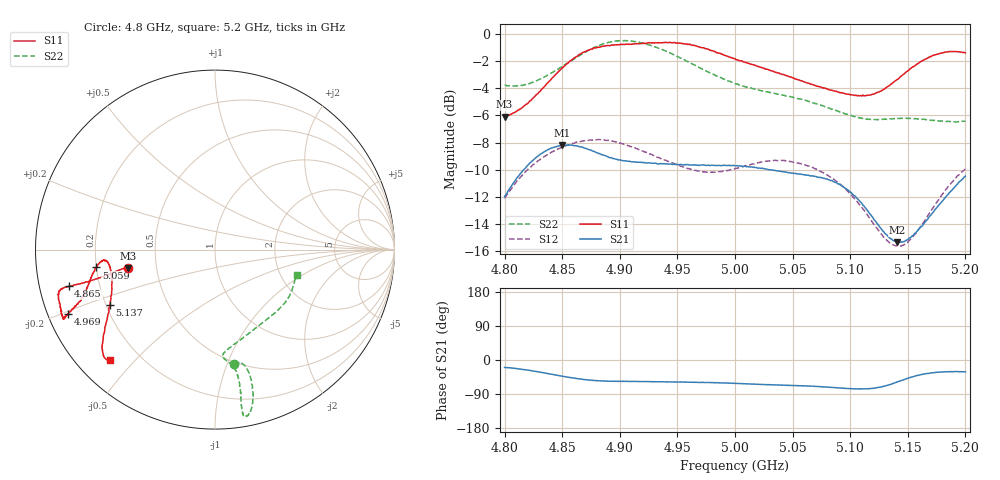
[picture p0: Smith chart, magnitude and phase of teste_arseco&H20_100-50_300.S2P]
! Network Analyzer HP8722D
! Hewlett-Packard
! Data name: Linha & Wilkinson
! Saver's name: Rodrigo Anjos
! Comments: Teste da utilização de aquisição
! continua pelo VNA HP8722D
! Time and date: 6/5/2025 15:04
!  Frequency  S11  S21  S12  S22
# HZ  S  MA R 50
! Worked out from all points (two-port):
!   401 points, 4.8 GHz to 5.2 GHz, reference 50 ohm
!   highest |S21| = -8.17 dB at 4.85 GHz (marker M1); lowest = -15.3 dB at 5.141 GHz (marker M2)
!   |S21| within 3 dB of the highest: 4.806 GHz to 5.093 GHz (286.5 MHz wide, 5.79 % of centre); 5.191829 GHz to end of sweep
!   lowest |S11| = -6.1 dB at 4.8 GHz (marker M3), VSWR 2.97, Z = 17 - j4.58 ohm
!   |S11| at or under -10 dB: nowhere
!   |S22| runs from -6.5 to -0.5 dB; largest |S21 - S12| = 0.62
!   S11 on the Smith chart (normalised r, x): 4.8 GHz: 0.34, -0.09; 4.865 GHz: 0.09, -0.12; 4.969 GHz: 0.06, -0.21; 5.059 GHz: 0.20, -0.07; 5.137 GHz: 0.22, -0.23; 5.2 GHz: 0.10, -0.43
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4.8e9  0.4962 -168.2  0.2521 -19.7  0.2486 -140.9  0.6472 -80.4
4.823e9  0.57 -167.5  0.338 -28.0  0.3245 -143.6  0.6606 -76.0
4.85e9  0.7488 -165.8  0.3904 -42.7  0.3833 -149.1  0.7594 -74.5
4.865e9  0.8404 -166.0  0.3845 -50.0  0.4014 -151.7  0.8322 -75.1
4.867e9  0.8495 -165.8  0.3842 -50.8  0.4027 -152.0  0.8433 -75.4
4.879e9  0.8888 -165.6  0.3671 -54.2  0.4079 -154.1  0.8945 -76.6
4.9e9  0.9133 -162.6  0.3441 -56.4  0.3966 -156.5  0.943 -79.1
4.934e9  0.9278 -156.4  0.3327 -57.5  0.3511 -155.6  0.8835 -80.4
4.969e9  0.8938 -156.4  0.3282 -58.9  0.313 -147.3  0.7517 -79.7
5e9  0.8103 -159.0  0.327 -61.7  0.3197 -137.2  0.656 -81.3
5.036e9  0.721 -165.7  0.3139 -65.9  0.3419 -134.4  0.6024 -85.7
5.059e9  0.6678 -171.4  0.3036 -68.2  0.3315 -136.0  0.5722 -84.3
5.067e9  0.6517 -173.0  0.3006 -69.1  0.3229 -136.8  0.5592 -82.6
5.083e9  0.6211 -174.4  0.2885 -72.2  0.2973 -138.2  0.5313 -76.9
5.1e9  0.5966 -172.3  0.2622 -75.4  0.2585 -138.8  0.502 -67.3
5.116e9  0.5954 -165.6  0.2213 -75.8  0.2127 -135.6  0.4854 -55.8
5.134e9  0.6451 -154.2  0.1779 -65.3  0.1707 -120.7  0.4873 -43.3
5.137e9  0.6605 -152.4  0.1741 -62.3  0.1678 -116.9  0.4881 -41.5
5.141e9  0.6804 -150.2  0.1712 -57.8  0.166 -111.7  0.4882 -39.0
5.154e9  0.7552 -144.4  0.181 -44.5  0.1788 -95.1  0.4884 -32.2
5.171e9  0.8294 -139.5  0.2184 -33.9  0.2262 -81.6  0.4813 -24.9
5.2e9  0.8512 -133.6  0.2998 -31.4  0.3189 -76.9  0.4766 -17.5
